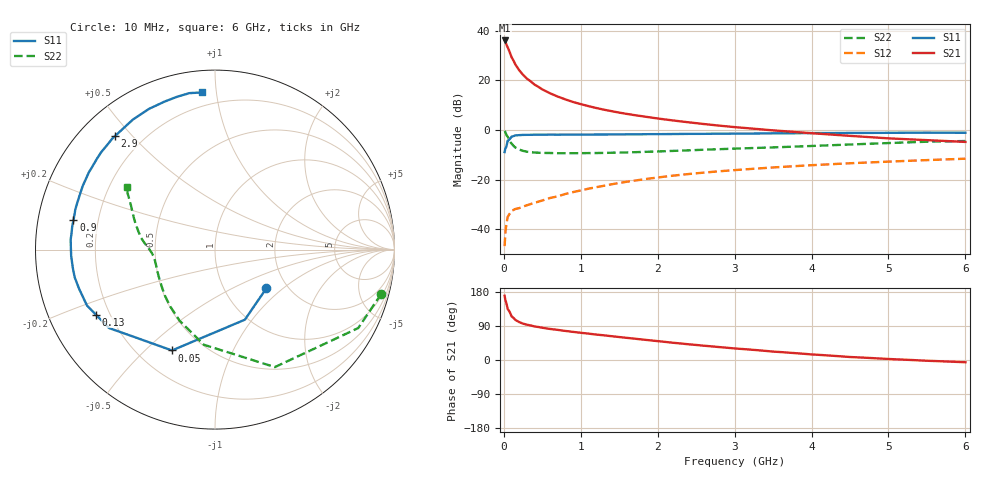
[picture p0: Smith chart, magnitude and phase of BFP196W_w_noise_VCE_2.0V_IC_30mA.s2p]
! (c) 2017  Infineon Technologies AG, Munich
! Infineon Technologies  Discrete & RF Semiconductors
! BFP196W
! VCE =  2.0 V,  IC =  30 mA
! Common Emitter S-Parameters:  Jan 2017
# GHz  S  MA  R  50
!  f  S11  S21  S12  S22
! GHz  MAG  ANG  MAG  ANG  MAG  ANG  MAG  ANG
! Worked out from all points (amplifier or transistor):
!   77 points, 10 MHz to 6 GHz, reference 50 ohm
!   highest |S21| = 36.2 dB at 10 MHz (marker M1)
!   |S21| within 3 dB of that: start of sweep to 53.06 MHz
!   unconditionally stable (mu >= 1): 792.4 MHz to 3.412 GHz
!   at 130 MHz: K = 0.33, MSG = 30.0 dB, |S12| = -32.2 dB
!   at 2.2 GHz: K = 1.05, MAG = 9.8 dB, |S12| = -18.4 dB
!   at 6 GHz: K = 0.96, MSG = 3.4 dB, |S12| = -11.6 dB
!   lowest NFmin = 1.13 dB at 450 MHz
!   S11 on the Smith chart (normalised r, x): 10 MHz: 1.57, -0.77; 50 MHz: 0.34, -0.61; 130 MHz: 0.15, -0.25; 900 MHz: 0.11, +0.10; 2.9 GHz: 0.10, +0.45; 6 GHz: 0.12, +0.92
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0.01  0.3583 -36.8  64.4 169.5  0.0045 78.3  0.9588 -14.9
0.02  0.4245 -66.9  60.92 158.4  0.0085 71.5  0.91 -28.7
0.05  0.6109 -113.1  46.76 134.6  0.0176 52.0  0.7347 -63.0
0.1  0.7345 -143.5  29.67 115.0  0.0231 38.4  0.5338 -96.6
0.13  0.7562 -151.4  24.42 110.2  0.0245 36.8  0.4722 -107.6
0.15  0.7782 -156.4  21.05 105.7  0.0254 35.9  0.4429 -116.4
0.2  0.7877 -163.7  16.1 100.0  0.0264 36.5  0.402 -128.7
0.25  0.7966 -168.7  13.01 95.9  0.0284 37.0  0.379 -137.4
0.3  0.7985 -172.2  10.9 93.1  0.0302 39.4  0.3644 -143.6
0.4  0.8021 -177.4  8.249 88.5  0.0338 43.6  0.3507 -152.0
0.5  0.8033 179.0  6.611 85.1  0.0377 46.8  0.3444 -157.5
0.6  0.8059 175.9  5.528 82.0  0.0423 50.3  0.3431 -161.4
0.7  0.8045 173.2  4.737 79.5  0.0457 52.5  0.3394 -164.3
0.9  0.8052 168.3  3.683 74.2  0.0557 54.9  0.3399 -168.2
1.1  0.8096 164.0  3.036 69.6  0.0652 57.1  0.3418 -171.1
1.5  0.8149 156.2  2.244 60.6  0.0849 57.0  0.3501 -176.0
2.1  0.8266 144.6  1.632 47.7  0.1147 54.3  0.3732 178.2
2.9  0.8428 131.3  1.184 32.4  0.1506 48.3  0.4151 171.1
3.1  0.8453 128.2  1.11 29.0  0.1587 46.6  0.4253 169.2
4.1  0.8662 113.8  0.841 13.5  0.1981 38.8  0.4819 159.2
5.1  0.8781 103.0  0.667 1.8  0.233 30.9  0.5518 149.7
6  0.8785 94.6  0.574 -5.9  0.2633 24.0  0.5989 144.5
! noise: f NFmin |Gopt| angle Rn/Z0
0.45  1.13  0.45  178  0.05
0.9  1.29  0.52  -176  0.06
1.9  2.14  0.68  -151  0.13
2.4  2.54  0.73  -146  0.22
